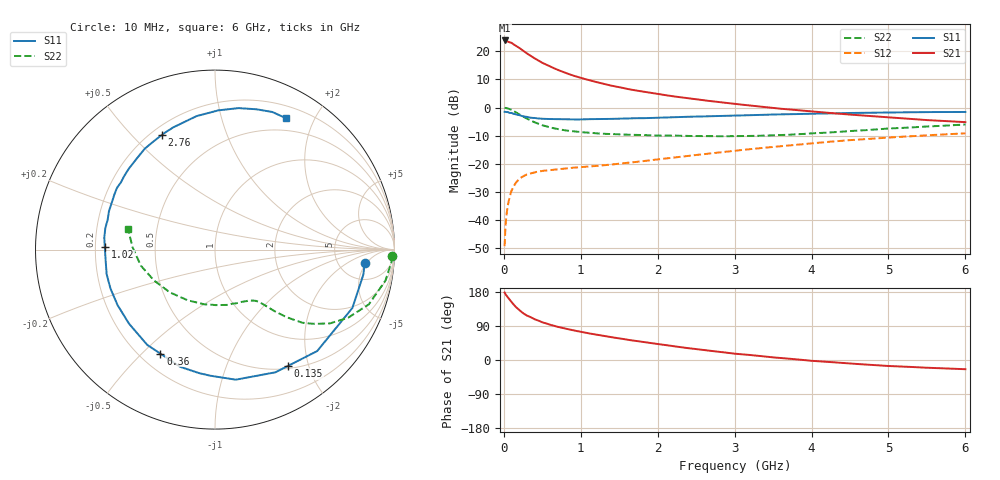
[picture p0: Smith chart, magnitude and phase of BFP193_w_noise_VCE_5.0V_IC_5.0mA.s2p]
! Infineon Technologies  Discrete & RF Semiconductors
! BFP193
! VCE = 5.0 V,  IC =  5.0 mA
! Common Emitter S-Parameters:  Jan 2016
# GHz  S  MA  R  50
!  f  S11  S21  S12  S22
! GHz  MAG  ANG  MAG  ANG  MAG  ANG  MAG  ANG
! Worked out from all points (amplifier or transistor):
!   210 points, 10 MHz to 6 GHz, reference 50 ohm
!   highest |S21| = 23.9 dB at 10 MHz (marker M1)
!   |S21| within 3 dB of that: start of sweep to 218 MHz
!   unconditionally stable (mu >= 1): 1.271 GHz to 3.604 GHz
!   at 185 MHz: K = 0.21, MSG = 23.7 dB, |S12| = -25.9 dB
!   at 1.52 GHz: K = 1.07, MAG = 11.9 dB, |S12| = -19.9 dB
!   at 6 GHz: K = 0.91, MSG = 2.0 dB, |S12| = -9.2 dB
!   lowest NFmin = 1.20 dB at 450 MHz
!   S11 on the Smith chart (normalised r, x): 10 MHz: 9, -4; 135 MHz: 0.54, -1.68; 360 MHz: 0.28, -0.57; 1.02 GHz: 0.24, +0.01; 2.76 GHz: 0.24, +0.61; 6 GHz: 0.34, +1.62
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0.01  0.8378 -5.0  15.61 177.9  0.0034 89.4  0.9877 -2.1
0.02  0.8381 -9.6  15.21 173.8  0.0071 82.1  0.9852 -4.2
0.06  0.8165 -27.2  14.73 163.2  0.0206 75.0  0.9522 -12.1
0.1  0.8023 -44.8  14.17 152.8  0.0331 68.1  0.9097 -19.6
0.135  0.7649 -57.9  13.08 144.7  0.041 60.8  0.8546 -24.7
0.15  0.7619 -63.8  12.7 140.9  0.0445 58.5  0.8333 -27.1
0.2  0.734 -80.9  11.53 131.7  0.0537 51.7  0.7611 -32.7
0.26  0.6939 -97.3  10.05 122.3  0.0605 45.8  0.6778 -37.5
0.3  0.6812 -106.6  9.177 117.2  0.0644 43.2  0.6335 -40.0
0.36  0.6548 -117.7  8.145 111.9  0.0679 39.8  0.5801 -42.0
0.4  0.6515 -125.4  7.505 107.6  0.0703 37.7  0.545 -43.5
0.5  0.6323 -139.3  6.244 99.5  0.0743 34.9  0.4838 -45.7
0.6  0.6248 -150.4  5.361 93.1  0.077 33.4  0.4412 -47.2
0.8  0.619 -167.3  4.131 82.8  0.0822 32.3  0.3908 -49.4
1.02  0.6139 178.7  3.31 73.6  0.087 33.5  0.363 -51.8
1.4  0.6283 160.1  2.443 60.2  0.0965 36.5  0.3376 -58.2
2.02  0.6583 137.0  1.725 41.7  0.1202 40.8  0.3166 -71.8
2.76  0.7045 114.7  1.269 22.5  0.1564 41.5  0.3077 -93.2
3.1  0.7235 106.6  1.122 15.0  0.1755 40.4  0.3104 -104.6
4.1  0.7795 86.9  0.829 -3.4  0.2372 33.5  0.351 -140.2
5.1  0.8176 72.3  0.653 -16.6  0.2974 22.9  0.4283 -170.8
6  0.8321 61.7  0.549 -24.3  0.347 12.3  0.4983 166.6
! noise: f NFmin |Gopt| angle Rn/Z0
0.45  1.2  0.26  102  0.14
0.9  1.25  0.38  145  0.12
1.8  2.05  0.56  -161  0.12
